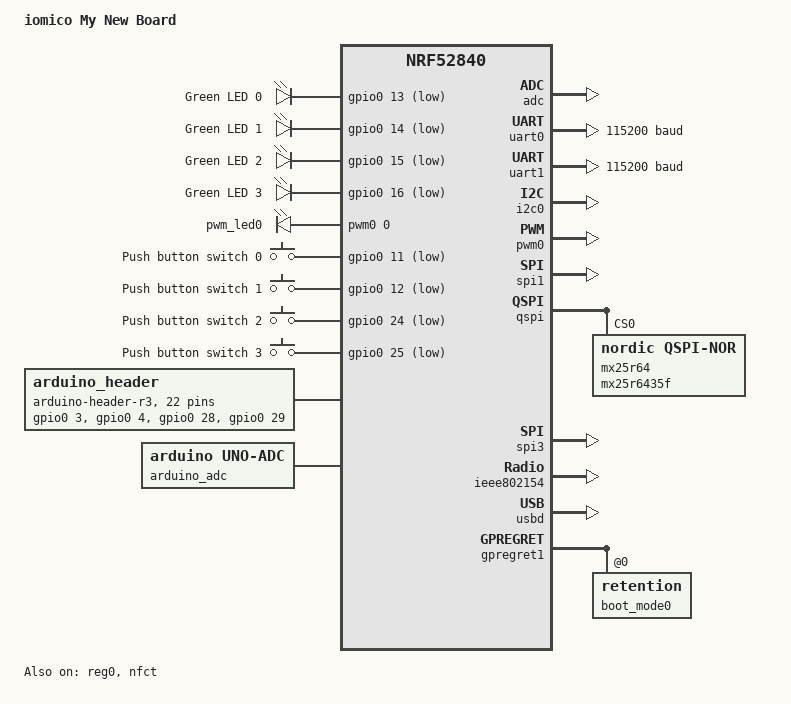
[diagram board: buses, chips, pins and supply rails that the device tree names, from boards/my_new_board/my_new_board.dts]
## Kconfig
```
menuconfig LED_SUBSYSTEM
    bool "Enable led subsytem"
    default y

if LED_SUBSYSTEM

config APP_HEARTBEAT_PERIOD_MS
    int "hearbeat period in ms"
    default 500
    range 100 2000

endif



source "Kconfig.zephyr"
```

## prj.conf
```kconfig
CONFIG_GPIO=y
CONFIG_LOG=y
CONFIG_BLINK_SPEED_200MS=y
```

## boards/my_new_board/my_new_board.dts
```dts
/*
 * Copyright (c) 2017 Linaro Limited
 *
 * SPDX-License-Identifier: Apache-2.0
 */

/dts-v1/;
#include <nordic/nrf52840_qiaa.dtsi>
#include <nordic/nrf52840_partition.dtsi>
#include "nrf52840dk_nrf52840-pinctrl.dtsi"
#include <zephyr/dt-bindings/input/input-event-codes.h>

/ {
	model = "iomico My New Board";
	compatible = "iomico,my-new-board";

	chosen {
		zephyr,console = &uart0;
		zephyr,shell-uart = &uart0;
		zephyr,uart-mcumgr = &uart0;
		zephyr,bt-mon-uart = &uart0;
		zephyr,bt-c2h-uart = &uart0;
		zephyr,ieee802154 = &ieee802154;
		zephyr,boot-mode = &boot_mode0;
	};

	leds {
		compatible = "gpio-leds";

		led0: led_0 {
			gpios = <&gpio0 13 GPIO_ACTIVE_LOW>;
			label = "Green LED 0";
		};

		led1: led_1 {
			gpios = <&gpio0 14 GPIO_ACTIVE_LOW>;
			label = "Green LED 1";
		};

		led2: led_2 {
			gpios = <&gpio0 15 GPIO_ACTIVE_LOW>;
			label = "Green LED 2";
		};

		led3: led_3 {
			gpios = <&gpio0 16 GPIO_ACTIVE_LOW>;
			label = "Green LED 3";
		};
	};

	pwmleds {
		compatible = "pwm-leds";

		pwm_led0: pwm_led_0 {
			pwms = <&pwm0 0 PWM_MSEC(20) PWM_POLARITY_INVERTED>;
		};
	};

	buttons {
		compatible = "gpio-keys";

		button0: button_0 {
			gpios = <&gpio0 11 (GPIO_PULL_UP | GPIO_ACTIVE_LOW)>;
			label = "Push button switch 0";
			zephyr,code = <INPUT_KEY_0>;
		};

		button1: button_1 {
			gpios = <&gpio0 12 (GPIO_PULL_UP | GPIO_ACTIVE_LOW)>;
			label = "Push button switch 1";
			zephyr,code = <INPUT_KEY_1>;
		};

		button2: button_2 {
			gpios = <&gpio0 24 (GPIO_PULL_UP | GPIO_ACTIVE_LOW)>;
			label = "Push button switch 2";
			zephyr,code = <INPUT_KEY_2>;
		};

		button3: button_3 {
			gpios = <&gpio0 25 (GPIO_PULL_UP | GPIO_ACTIVE_LOW)>;
			label = "Push button switch 3";
			zephyr,code = <INPUT_KEY_3>;
		};
	};

	arduino_header: connector {
		compatible = "arduino-header-r3";
		#gpio-cells = <2>;
		gpio-map-mask = <0xffffffff 0xffffffc0>;
		gpio-map-pass-thru = <0 0x3f>;
		gpio-map = <0 0 &gpio0 3 0>,	/* A0 */
			   <1 0 &gpio0 4 0>,	/* A1 */
			   <2 0 &gpio0 28 0>,	/* A2 */
			   <3 0 &gpio0 29 0>,	/* A3 */
			   <4 0 &gpio0 30 0>,	/* A4 */
			   <5 0 &gpio0 31 0>,	/* A5 */
			   <6 0 &gpio1 1 0>,	/* D0 */
			   <7 0 &gpio1 2 0>,	/* D1 */
			   <8 0 &gpio1 3 0>,	/* D2 */
			   <9 0 &gpio1 4 0>,	/* D3 */
			   <10 0 &gpio1 5 0>,	/* D4 */
			   <11 0 &gpio1 6 0>,	/* D5 */
			   <12 0 &gpio1 7 0>,	/* D6 */
			   <13 0 &gpio1 8 0>,	/* D7 */
			   <14 0 &gpio1 10 0>,	/* D8 */
			   <15 0 &gpio1 11 0>,	/* D9 */
			   <16 0 &gpio1 12 0>,	/* D10 */
			   <17 0 &gpio1 13 0>,	/* D11 */
			   <18 0 &gpio1 14 0>,	/* D12 */
			   <19 0 &gpio1 15 0>,	/* D13 */
			   <20 0 &gpio0 26 0>,	/* D14 */
			   <21 0 &gpio0 27 0>;	/* D15 */
	};

	arduino_adc: analog-connector {
		compatible = "arduino,uno-adc";
		#io-channel-cells = <1>;
		io-channel-map = <0 &adc 1>,	/* A0 = P0.3 = AIN1 */
				 <1 &adc 2>,	/* A1 = P0.4 = AIN2 */
				 <2 &adc 4>,	/* A2 = P0.28 = AIN4 */
				 <3 &adc 5>,	/* A3 = P0.29 = AIN5 */
				 <4 &adc 6>,	/* A4 = P0.30 = AIN6 */
				 <5 &adc 7>;	/* A5 = P0.31 = AIN7 */
	};

	/* These aliases are provided for compatibility with samples */
	aliases {
		led0 = &led0;
		led1 = &led1;
		led2 = &led2;
		led3 = &led3;
		pwm-led0 = &pwm_led0;
		sw0 = &button0;
		sw1 = &button1;
		sw2 = &button2;
		sw3 = &button3;
		bootloader-led0 = &led0;
		mcuboot-button0 = &button0;
		mcuboot-led0 = &led0;
		watchdog0 = &wdt0;
	};
};

&reg0 {
	status = "okay";
};

&reg1 {
	regulator-initial-mode = <NRF5X_REG_MODE_DCDC>;
};

&adc {
	status = "okay";
};

&uicr {
	gpio-as-nreset;
};

&gpiote {
	status = "okay";
};

&nfct {
	status = "okay";
};

&gpio0 {
	status = "okay";
	gpio-reserved-ranges = <0 2>, <6 1>, <8 3>, <17 7>;
	gpio-line-names = "XL1", "XL2", "AREF", "A0", "A1", "RTS", "TXD",
		"CTS", "RXD", "NFC1", "NFC2", "BUTTON1", "BUTTON2", "LED1",
		"LED2", "LED3", "LED4", "QSPI CS", "RESET", "QSPI CLK",
		"QSPI DIO0", "QSPI DIO1", "QSPI DIO2", "QSPI DIO3","BUTTON3",
		"BUTTON4", "SDA", "SCL", "A2", "A3", "A4", "A5";
};

&gpio1 {
	status = "okay";
	gpio-line-names = "", "D0", "D1", "D2", "D3", "D4", "D5", "D6",
		"D7", "", "D8", "D9", "D10", "D11", "D12", "D13";
};

&uart0 {
	compatible = "nordic,nrf-uarte";
	status = "okay";
	current-speed = <115200>;
	pinctrl-0 = <&uart0_default>;
	pinctrl-1 = <&uart0_sleep>;
	pinctrl-names = "default", "sleep";
};

arduino_serial: &uart1 {
	current-speed = <115200>;
	pinctrl-0 = <&uart1_default>;
	pinctrl-1 = <&uart1_sleep>;
	pinctrl-names = "default", "sleep";
};

arduino_i2c: &i2c0 {
	compatible = "nordic,nrf-twi";
	status = "okay";
	pinctrl-0 = <&i2c0_default>;
	pinctrl-1 = <&i2c0_sleep>;
	pinctrl-names = "default", "sleep";
};

&i2c1 {
	compatible = "nordic,nrf-twi";
	/* Cannot be used together with spi1. */
	/* status = "okay"; */
	pinctrl-0 = <&i2c1_default>;
	pinctrl-1 = <&i2c1_sleep>;
	pinctrl-names = "default", "sleep";
};

&pwm0 {
	status = "okay";
	pinctrl-0 = <&pwm0_default>;
	pinctrl-1 = <&pwm0_sleep>;
	pinctrl-names = "default", "sleep";
};

&spi0 {
	compatible = "nordic,nrf-spi";
	/* Cannot be used together with i2c0. */
	/* status = "okay"; */
	pinctrl-0 = <&spi0_default>;
	pinctrl-1 = <&spi0_sleep>;
	pinctrl-names = "default", "sleep";
};

&spi1 {
	compatible = "nordic,nrf-spi";
	status = "okay";
	pinctrl-0 = <&spi1_default>;
	pinctrl-1 = <&spi1_sleep>;
	pinctrl-names = "default", "sleep";
};

&spi2 {
	compatible = "nordic,nrf-spi";
	status = "disabled";
	pinctrl-0 = <&spi2_default>;
	pinctrl-1 = <&spi2_sleep>;
	pinctrl-names = "default", "sleep";
};

&qspi {
	status = "okay";
	pinctrl-0 = <&qspi_default>;
	pinctrl-1 = <&qspi_sleep>;
	pinctrl-names = "default", "sleep";

	mx25r64: mx25r6435f@0 {
		compatible = "nordic,qspi-nor";
		reg = <0>;
		/* MX25R64 supports only pp and pp4io */
		writeoc = "pp4io";
		/* MX25R64 supports all readoc options */
		readoc = "read4io";
		sck-frequency = <8000000>;
		jedec-id = [c2 28 17];
		sfdp-bfp = [
			e5 20 f1 ff  ff ff ff 03  44 eb 08 6b  08 3b 04 bb
			ee ff ff ff  ff ff 00 ff  ff ff 00 ff  0c 20 0f 52
			10 d8 00 ff  23 72 f5 00  82 ed 04 cc  44 83 68 44
			30 b0 30 b0  f7 c4 d5 5c  00 be 29 ff  f0 d0 ff ff
		];
		size = <67108864>;
		has-dpd;
		t-enter-dpd = <10000>;
		t-exit-dpd = <35000>;
	};
};

arduino_spi: &spi3 {
	status = "okay";
	cs-gpios = <&arduino_header 16 GPIO_ACTIVE_LOW>; /* D10 */
	pinctrl-0 = <&spi3_default>;
	pinctrl-1 = <&spi3_sleep>;
	pinctrl-names = "default", "sleep";
};

&ieee802154 {
	status = "okay";
};

zephyr_udc0: &usbd {
	compatible = "nordic,nrf-usbd";
	status = "okay";
};

&gpregret1 {
	status = "okay";

	boot_mode0: boot_mode@0 {
		compatible = "zephyr,retention";
		status = "okay";
		reg = <0x0 0x1>;
	};
};
```

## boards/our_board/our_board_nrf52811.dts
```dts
/*
 * Copyright (c) 2019 Nordic Semiconductor
 *
 * SPDX-License-Identifier: Apache-2.0
 */

/dts-v1/;
#include <nordic/nrf52811_qfaa.dtsi>
#include "nrf52840dk_nrf52811-pinctrl.dtsi"
#include <zephyr/dt-bindings/input/input-event-codes.h>

/ {
	model = "iomico Our Board NRF52811";
	compatible = "iomico,our-board-nrf52811";

	chosen {
		zephyr,console = &uart0;
		zephyr,shell-uart = &uart0;
		zephyr,uart-mcumgr = &uart0;
		zephyr,bt-mon-uart = &uart0;
		zephyr,bt-c2h-uart = &uart0;
		zephyr,sram = &sram0;
		zephyr,flash = &flash0;
		zephyr,code-partition = &slot0_partition;
	};

	leds {
		compatible = "gpio-leds";

		led0: led_0 {
			gpios = <&gpio0 13 GPIO_ACTIVE_LOW>;
			label = "Green LED 0";
		};

		led1: led_1 {
			gpios = <&gpio0 14 GPIO_ACTIVE_LOW>;
			label = "Green LED 1";
		};

		led2: led_2 {
			gpios = <&gpio0 15 GPIO_ACTIVE_LOW>;
			label = "Green LED 2";
		};

		led3: led_3 {
			gpios = <&gpio0 16 GPIO_ACTIVE_LOW>;
			label = "Green LED 3";
		};
	};

	pwmleds {
		compatible = "pwm-leds";

		pwm_led0: pwm_led_0 {
			pwms = <&pwm0 0 PWM_MSEC(20) PWM_POLARITY_INVERTED>;
		};
	};

	buttons {
		compatible = "gpio-keys";

		button0: button_0 {
			gpios = <&gpio0 11 (GPIO_PULL_UP | GPIO_ACTIVE_LOW)>;
			label = "Push button switch 0";
			zephyr,code = <INPUT_KEY_0>;
		};

		button1: button_1 {
			gpios = <&gpio0 12 (GPIO_PULL_UP | GPIO_ACTIVE_LOW)>;
			label = "Push button switch 1";
			zephyr,code = <INPUT_KEY_1>;
		};

		button2: button_2 {
			gpios = <&gpio0 24 (GPIO_PULL_UP | GPIO_ACTIVE_LOW)>;
			label = "Push button switch 2";
			zephyr,code = <INPUT_KEY_2>;
		};

		button3: button_3 {
			gpios = <&gpio0 25 (GPIO_PULL_UP | GPIO_ACTIVE_LOW)>;
			label = "Push button switch 3";
			zephyr,code = <INPUT_KEY_3>;
		};
	};

	/* These aliases are provided for compatibility with samples */
	aliases {
		led0 = &led0;
		led1 = &led1;
		led2 = &led2;
		led3 = &led3;
		pwm-led0 = &pwm_led0;
		sw0 = &button0;
		sw1 = &button1;
		sw2 = &button2;
		sw3 = &button3;
		bootloader-led0 = &led0;
		mcuboot-button0 = &button0;
		mcuboot-led0 = &led0;
		watchdog0 = &wdt0;
	};
};

&reg {
	regulator-initial-mode = <NRF5X_REG_MODE_DCDC>;
};

&adc {
	status = "okay";
};

&uicr {
	gpio-as-nreset;
};

&gpiote {
	status = "okay";
};

&gpio0 {
	status = "okay";
};

&uart0 {
	compatible = "nordic,nrf-uarte";
	status = "okay";
	current-speed = <115200>;
	pinctrl-0 = <&uart0_default>;
	pinctrl-1 = <&uart0_sleep>;
	pinctrl-names = "default", "sleep";
};

&i2c0 {
	compatible = "nordic,nrf-twi";
	status = "okay";
	/* Arduino compatible PINs */
	pinctrl-0 = <&i2c0_default>;
	pinctrl-1 = <&i2c0_sleep>;
	pinctrl-names = "default", "sleep";
};

&pwm0 {
	status = "okay";
	pinctrl-0 = <&pwm0_default>;
	pinctrl-1 = <&pwm0_sleep>;
	pinctrl-names = "default", "sleep";
};

&spi0 {
	compatible = "nordic,nrf-spi";
	status = "okay";
	pinctrl-0 = <&spi0_default>;
	pinctrl-1 = <&spi0_sleep>;
	pinctrl-names = "default", "sleep";
};

&spi1 {
	compatible = "nordic,nrf-spi";
	/* cannot be used with i2c0 */
	pinctrl-0 = <&spi1_default>;
	pinctrl-1 = <&spi1_sleep>;
	pinctrl-names = "default", "sleep";
};

&flash0 {
	partitions {
		compatible = "fixed-partitions";
		#address-cells = <1>;
		#size-cells = <1>;

		boot_partition: partition@0 {
			label = "mcuboot";
			reg = <0x00000000 0xc000>;
		};

		slot0_partition: partition@c000 {
			label = "image-0";
			reg = <0x0000C000 0xe000>;
		};

		slot1_partition: partition@1a000 {
			label = "image-1";
			reg = <0x0001a000 0xe000>;
		};

		storage_partition: partition@28000 {
			label = "storage";
			reg = <0x00028000 0x00008000>;
		};
	};
};
```

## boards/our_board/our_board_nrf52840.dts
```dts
/*
 * Copyright (c) 2017 Linaro Limited
 *
 * SPDX-License-Identifier: Apache-2.0
 */

/dts-v1/;
#include <nordic/nrf52840_qiaa.dtsi>
#include <nordic/nrf52840_partition.dtsi>
#include "nrf52840dk_nrf52840-pinctrl.dtsi"
#include <zephyr/dt-bindings/input/input-event-codes.h>

/ {
	model = "iomico Our Board NRF52840";
	compatible = "iomico,our-board-nrf52840";

	chosen {
		zephyr,console = &uart0;
		zephyr,shell-uart = &uart0;
		zephyr,uart-mcumgr = &uart0;
		zephyr,bt-mon-uart = &uart0;
		zephyr,bt-c2h-uart = &uart0;
		zephyr,ieee802154 = &ieee802154;
		zephyr,boot-mode = &boot_mode0;
	};

	leds {
		compatible = "gpio-leds";

		led0: led_0 {
			gpios = <&gpio0 13 GPIO_ACTIVE_LOW>;
			label = "Green LED 0";
		};

		led1: led_1 {
			gpios = <&gpio0 14 GPIO_ACTIVE_LOW>;
			label = "Green LED 1";
		};

		led2: led_2 {
			gpios = <&gpio0 15 GPIO_ACTIVE_LOW>;
			label = "Green LED 2";
		};

		led3: led_3 {
			gpios = <&gpio0 16 GPIO_ACTIVE_LOW>;
			label = "Green LED 3";
		};
	};

	pwmleds {
		compatible = "pwm-leds";

		pwm_led0: pwm_led_0 {
			pwms = <&pwm0 0 PWM_MSEC(20) PWM_POLARITY_INVERTED>;
		};
	};

	buttons {
		compatible = "gpio-keys";

		button0: button_0 {
			gpios = <&gpio0 11 (GPIO_PULL_UP | GPIO_ACTIVE_LOW)>;
			label = "Push button switch 0";
			zephyr,code = <INPUT_KEY_0>;
		};

		button1: button_1 {
			gpios = <&gpio0 12 (GPIO_PULL_UP | GPIO_ACTIVE_LOW)>;
			label = "Push button switch 1";
			zephyr,code = <INPUT_KEY_1>;
		};

		button2: button_2 {
			gpios = <&gpio0 24 (GPIO_PULL_UP | GPIO_ACTIVE_LOW)>;
			label = "Push button switch 2";
			zephyr,code = <INPUT_KEY_2>;
		};

		button3: button_3 {
			gpios = <&gpio0 25 (GPIO_PULL_UP | GPIO_ACTIVE_LOW)>;
			label = "Push button switch 3";
			zephyr,code = <INPUT_KEY_3>;
		};
	};

	arduino_header: connector {
		compatible = "arduino-header-r3";
		#gpio-cells = <2>;
		gpio-map-mask = <0xffffffff 0xffffffc0>;
		gpio-map-pass-thru = <0 0x3f>;
		gpio-map = <0 0 &gpio0 3 0>,	/* A0 */
			   <1 0 &gpio0 4 0>,	/* A1 */
			   <2 0 &gpio0 28 0>,	/* A2 */
			   <3 0 &gpio0 29 0>,	/* A3 */
			   <4 0 &gpio0 30 0>,	/* A4 */
			   <5 0 &gpio0 31 0>,	/* A5 */
			   <6 0 &gpio1 1 0>,	/* D0 */
			   <7 0 &gpio1 2 0>,	/* D1 */
			   <8 0 &gpio1 3 0>,	/* D2 */
			   <9 0 &gpio1 4 0>,	/* D3 */
			   <10 0 &gpio1 5 0>,	/* D4 */
			   <11 0 &gpio1 6 0>,	/* D5 */
			   <12 0 &gpio1 7 0>,	/* D6 */
			   <13 0 &gpio1 8 0>,	/* D7 */
			   <14 0 &gpio1 10 0>,	/* D8 */
			   <15 0 &gpio1 11 0>,	/* D9 */
			   <16 0 &gpio1 12 0>,	/* D10 */
			   <17 0 &gpio1 13 0>,	/* D11 */
			   <18 0 &gpio1 14 0>,	/* D12 */
			   <19 0 &gpio1 15 0>,	/* D13 */
			   <20 0 &gpio0 26 0>,	/* D14 */
			   <21 0 &gpio0 27 0>;	/* D15 */
	};

	arduino_adc: analog-connector {
		compatible = "arduino,uno-adc";
		#io-channel-cells = <1>;
		io-channel-map = <0 &adc 1>,	/* A0 = P0.3 = AIN1 */
				 <1 &adc 2>,	/* A1 = P0.4 = AIN2 */
				 <2 &adc 4>,	/* A2 = P0.28 = AIN4 */
				 <3 &adc 5>,	/* A3 = P0.29 = AIN5 */
				 <4 &adc 6>,	/* A4 = P0.30 = AIN6 */
				 <5 &adc 7>;	/* A5 = P0.31 = AIN7 */
	};

	/* These aliases are provided for compatibility with samples */
	aliases {
		led0 = &led0;
		led1 = &led1;
		led2 = &led2;
		led3 = &led3;
		pwm-led0 = &pwm_led0;
		sw0 = &button0;
		sw1 = &button1;
		sw2 = &button2;
		sw3 = &button3;
		bootloader-led0 = &led0;
		mcuboot-button0 = &button0;
		mcuboot-led0 = &led0;
		watchdog0 = &wdt0;
	};
};

&reg0 {
	status = "okay";
};

&reg1 {
	regulator-initial-mode = <NRF5X_REG_MODE_DCDC>;
};

&adc {
	status = "okay";
};

&uicr {
	gpio-as-nreset;
};

&gpiote {
	status = "okay";
};

&nfct {
	status = "okay";
};

&gpio0 {
	status = "okay";
	gpio-reserved-ranges = <0 2>, <6 1>, <8 3>, <17 7>;
	gpio-line-names = "XL1", "XL2", "AREF", "A0", "A1", "RTS", "TXD",
		"CTS", "RXD", "NFC1", "NFC2", "BUTTON1", "BUTTON2", "LED1",
		"LED2", "LED3", "LED4", "QSPI CS", "RESET", "QSPI CLK",
		"QSPI DIO0", "QSPI DIO1", "QSPI DIO2", "QSPI DIO3","BUTTON3",
		"BUTTON4", "SDA", "SCL", "A2", "A3", "A4", "A5";
};

&gpio1 {
	status = "okay";
	gpio-line-names = "", "D0", "D1", "D2", "D3", "D4", "D5", "D6",
		"D7", "", "D8", "D9", "D10", "D11", "D12", "D13";
};

&uart0 {
	compatible = "nordic,nrf-uarte";
	status = "okay";
	current-speed = <115200>;
	pinctrl-0 = <&uart0_default>;
	pinctrl-1 = <&uart0_sleep>;
	pinctrl-names = "default", "sleep";
};

arduino_serial: &uart1 {
	current-speed = <115200>;
	pinctrl-0 = <&uart1_default>;
	pinctrl-1 = <&uart1_sleep>;
	pinctrl-names = "default", "sleep";
};

arduino_i2c: &i2c0 {
	compatible = "nordic,nrf-twi";
	status = "okay";
	pinctrl-0 = <&i2c0_default>;
	pinctrl-1 = <&i2c0_sleep>;
	pinctrl-names = "default", "sleep";
};

&i2c1 {
	compatible = "nordic,nrf-twi";
	/* Cannot be used together with spi1. */
	/* status = "okay"; */
	pinctrl-0 = <&i2c1_default>;
	pinctrl-1 = <&i2c1_sleep>;
	pinctrl-names = "default", "sleep";
};

&pwm0 {
	status = "okay";
	pinctrl-0 = <&pwm0_default>;
	pinctrl-1 = <&pwm0_sleep>;
	pinctrl-names = "default", "sleep";
};

&spi0 {
	compatible = "nordic,nrf-spi";
	/* Cannot be used together with i2c0. */
	/* status = "okay"; */
	pinctrl-0 = <&spi0_default>;
	pinctrl-1 = <&spi0_sleep>;
	pinctrl-names = "default", "sleep";
};

&spi1 {
	compatible = "nordic,nrf-spi";
	status = "okay";
	pinctrl-0 = <&spi1_default>;
	pinctrl-1 = <&spi1_sleep>;
	pinctrl-names = "default", "sleep";
};

&spi2 {
	compatible = "nordic,nrf-spi";
	status = "disabled";
	pinctrl-0 = <&spi2_default>;
	pinctrl-1 = <&spi2_sleep>;
	pinctrl-names = "default", "sleep";
};

&qspi {
	status = "okay";
	pinctrl-0 = <&qspi_default>;
	pinctrl-1 = <&qspi_sleep>;
	pinctrl-names = "default", "sleep";

	mx25r64: mx25r6435f@0 {
		compatible = "nordic,qspi-nor";
		reg = <0>;
		/* MX25R64 supports only pp and pp4io */
		writeoc = "pp4io";
		/* MX25R64 supports all readoc options */
		readoc = "read4io";
		sck-frequency = <8000000>;
		jedec-id = [c2 28 17];
		sfdp-bfp = [
			e5 20 f1 ff  ff ff ff 03  44 eb 08 6b  08 3b 04 bb
			ee ff ff ff  ff ff 00 ff  ff ff 00 ff  0c 20 0f 52
			10 d8 00 ff  23 72 f5 00  82 ed 04 cc  44 83 68 44
			30 b0 30 b0  f7 c4 d5 5c  00 be 29 ff  f0 d0 ff ff
		];
		size = <67108864>;
		has-dpd;
		t-enter-dpd = <10000>;
		t-exit-dpd = <35000>;
	};
};

arduino_spi: &spi3 {
	status = "okay";
	cs-gpios = <&arduino_header 16 GPIO_ACTIVE_LOW>; /* D10 */
	pinctrl-0 = <&spi3_default>;
	pinctrl-1 = <&spi3_sleep>;
	pinctrl-names = "default", "sleep";
};

&ieee802154 {
	status = "okay";
};

zephyr_udc0: &usbd {
	compatible = "nordic,nrf-usbd";
	status = "okay";
};

&gpregret1 {
	status = "okay";

	boot_mode0: boot_mode@0 {
		compatible = "zephyr,retention";
		status = "okay";
		reg = <0x0 0x1>;
	};
};
```

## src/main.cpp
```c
#include <zephyr/drivers/gpio.h>
#include <zephyr/kernel.h>
#include <zephyr/logging/log.h>
#include <zephyr/sys/printk.h>
#include <zephyr/init.h>


/* The devicetree node identifier for the "led0" alias. */
#define LED_NODE DT_ALIAS(led0)

static const struct gpio_dt_spec led = GPIO_DT_SPEC_GET(LED_NODE, gpios);

LOG_MODULE_REGISTER(main, LOG_LEVEL_INF);

static int board_init(void)
{
    printk("Board Initialized\n");
    return 0;
}

SYS_INIT(board_init, APPLICATION, 0);

int main(void)
{
    bool led_state = true;

    if (!gpio_is_ready_dt(&led)) return 0;

    if (gpio_pin_configure_dt(&led, GPIO_OUTPUT_ACTIVE) < 0) return 0;

    while (1) {
        if (gpio_pin_toggle_dt(&led) < 0) return 0;

        led_state = !led_state;
        LOG_INF("LED state: %s", led_state ? "ON" : "OFF");
        k_msleep(CONFIG_APP_HEARTBEAT_PERIOD_MS);
    }
    return 0;
}
```
